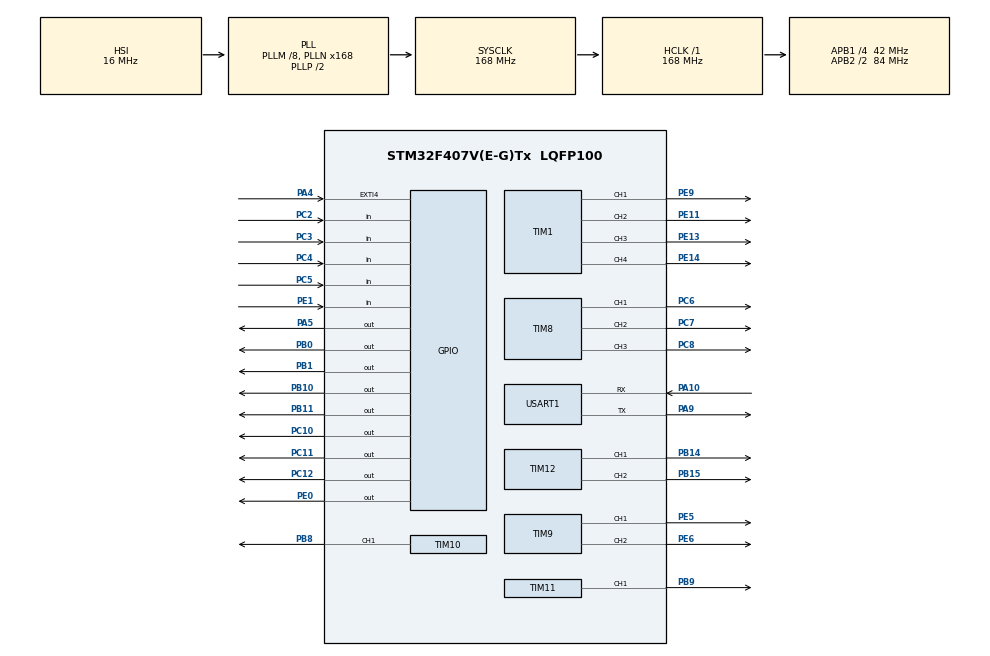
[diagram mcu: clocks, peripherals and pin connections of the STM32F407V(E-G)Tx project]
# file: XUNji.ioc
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Mcu.Family=STM32F4
Mcu.Name=STM32F407V(E-G)Tx
Mcu.Package=LQFP100
NVIC.PriorityGroup=NVIC_PRIORITYGROUP_4
PA10.Mode=Asynchronous
PA10.Signal=USART1_RX
PA13.Mode=Serial_Wire
PA13.Signal=SYS_JTMS-SWDIO
PA14.Mode=Serial_Wire
PA14.Signal=SYS_JTCK-SWCLK
PA4.Signal=GPXTI4
PA5.Signal=GPIO_Output
PA9.Mode=Asynchronous
PA9.Signal=USART1_TX
PB0.Signal=GPIO_Output
PB1.Signal=GPIO_Output
PB10.Signal=GPIO_Output
PB11.Signal=GPIO_Output
PB14.Signal=S_TIM12_CH1
PB15.Signal=S_TIM12_CH2
PB8.Signal=S_TIM10_CH1
PB9.Signal=S_TIM11_CH1
PC10.Signal=GPIO_Output
PC11.Signal=GPIO_Output
PC12.Signal=GPIO_Output
PC2.GPIO_PuPd=GPIO_PULLUP
PC2.Signal=GPIO_Input
PC3.GPIO_PuPd=GPIO_PULLUP
PC3.Signal=GPIO_Input
PC4.GPIO_PuPd=GPIO_PULLUP
PC4.Signal=GPIO_Input
PC5.GPIO_PuPd=GPIO_PULLUP
PC5.Signal=GPIO_Input
PC6.Signal=S_TIM8_CH1
PC7.Signal=S_TIM8_CH2
PC8.Signal=S_TIM8_CH3
PE0.Signal=GPIO_Output
PE1.GPIO_PuPd=GPIO_PULLUP
PE1.Signal=GPIO_Input
PE11.Signal=S_TIM1_CH2
PE13.Signal=S_TIM1_CH3
PE14.Signal=S_TIM1_CH4
PE5.Signal=S_TIM9_CH1
PE6.Signal=S_TIM9_CH2
PE9.Signal=S_TIM1_CH1
PH0-OSC_IN.Mode=HSE-External-Oscillator
PH0-OSC_IN.Signal=RCC_OSC_IN
PH1-OSC_OUT.Mode=HSE-External-Oscillator
PH1-OSC_OUT.Signal=RCC_OSC_OUT
ProjectManager.HeapSize=0x200
ProjectManager.StackSize=0x400
ProjectManager.TargetToolchain=STM32CubeIDE
RCC.48MHZClocksFreq_Value=84000000
RCC.AHBFreq_Value=168000000
RCC.APB1CLKDivider=RCC_HCLK_DIV4
RCC.APB1Freq_Value=42000000
RCC.APB1TimFreq_Value=84000000
RCC.APB2CLKDivider=RCC_HCLK_DIV2
RCC.APB2Freq_Value=84000000
RCC.APB2TimFreq_Value=168000000
RCC.CortexFreq_Value=168000000
RCC.HCLKFreq_Value=168000000
RCC.HSE_VALUE=25000000
RCC.HSI_VALUE=16000000
RCC.LSE_VALUE=32768
RCC.PLLM=8
RCC.PLLN=168
RCC.SYSCLKFreq_VALUE=168000000
RCC.SYSCLKSource=RCC_SYSCLKSOURCE_PLLCLK
RCC.VCOOutputFreq_Value=336000000
SH.S_TIM10_CH1.0=TIM10_CH1,PWM Generation1 CH1
SH.S_TIM11_CH1.0=TIM11_CH1,PWM Generation1 CH1
SH.S_TIM12_CH1.0=TIM12_CH1,PWM Generation1 CH1
SH.S_TIM12_CH2.0=TIM12_CH2,PWM Generation2 CH2
SH.S_TIM1_CH1.0=TIM1_CH1,PWM Generation1 CH1
SH.S_TIM1_CH2.0=TIM1_CH2,Output Compare2 CH2
SH.S_TIM1_CH3.0=TIM1_CH3,Output Compare3 CH3
SH.S_TIM1_CH4.0=TIM1_CH4,Output Compare4 CH4
SH.S_TIM8_CH1.0=TIM8_CH1,PWM Generation1 CH1
SH.S_TIM8_CH2.0=TIM8_CH2,PWM Generation2 CH2
SH.S_TIM8_CH3.0=TIM8_CH3,PWM Generation3 CH3
SH.S_TIM9_CH1.0=TIM9_CH1,PWM Generation1 CH1
SH.S_TIM9_CH2.0=TIM9_CH2,PWM Generation2 CH2
TIM1.Channel-Output\ Compare2\ CH2=TIM_CHANNEL_2
TIM1.Channel-Output\ Compare3\ CH3=TIM_CHANNEL_3
TIM1.Channel-Output\ Compare4\ CH4=TIM_CHANNEL_4
TIM1.Channel-PWM\ Generation1\ CH1=TIM_CHANNEL_1
TIM10.Channel=TIM_CHANNEL_1
TIM10.Period=20000-1
TIM10.Prescaler=168-1
TIM11.Channel=TIM_CHANNEL_1
TIM11.Period=20000-1
TIM11.Prescaler=168-1
TIM12.Channel-PWM\ Generation1\ CH1=TIM_CHANNEL_1
TIM12.Channel-PWM\ Generation2\ CH2=TIM_CHANNEL_2
TIM8.Channel-PWM\ Generation1\ CH1=TIM_CHANNEL_1
TIM8.Channel-PWM\ Generation2\ CH2=TIM_CHANNEL_2
TIM8.Channel-PWM\ Generation3\ CH3=TIM_CHANNEL_3
TIM9.Channel-PWM\ Generation1\ CH1=TIM_CHANNEL_1
TIM9.Channel-PWM\ Generation2\ CH2=TIM_CHANNEL_2
USART1.VirtualMode=VM_ASYNC
VP_TIM10_VS_ClockSourceINT.Mode=Enable_Timer
VP_TIM11_VS_ClockSourceINT.Mode=Enable_Timer
board=custom

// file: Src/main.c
/* USER CODE BEGIN Header */
/**
  ******************************************************************************
  * @file           : main.c
  * @brief          : Main program body
  ******************************************************************************
  * @attention
  *
  * Copyright (c) 2026 STMicroelectronics.
  * All rights reserved.
  *
  * This software is licensed under terms that can be found in the LICENSE file
  * in the root directory of this software component.
  * If no LICENSE file comes with this software, it is provided AS-IS.
  *
  ******************************************************************************
  */
/* USER CODE END Header */

#include "main.h"
#include "tim.h"
#include "usart.h"
#include "gpio.h"
#include <stdio.h>
#include <string.h>

/* USER CODE BEGIN Includes */

/*
 * delay.h：
 *   提供 AX_Delayms()、AX_Delayus()。
 *
 * key.h：
 *   提供 AX_KEY_Scan()，用于按键启动机器人。
 *
 * line.h：
 *   提供 AX_LINE_GetData()，用于读取四路循迹传感器。
 *
 * motor.h：
 *   提供 AX_MOTOR_A/B/C/D_SetSpeed()，用于控制四个底盘电机。
 *
 * led.h / beep.h：
 *   用于状态提示，例如启动时蜂鸣器响一下、LED 点亮。
 *
 * servo.h：
 *   控制水平舵机和释放舵机。
 *
 * extra_motor.h：
 *   控制 TB6612 上的三个卷线电机。
 */

#include "delay.h"
#include "key.h"
#include "line.h"
#include "motor.h"
#include "led.h"
#include "beep.h"
#include "servo.h"
#include "extra_motor.h"

/*
 * 如果要加入 OpenMV 摄像头，
 * 需要在 CubeMX 里启用 USART1，
 * 并生成 usart.h / usart.c。
 */

/* USER CODE END Includes */

/* USER CODE BEGIN PTD */
/*
 * AppState_t：
 *   机器人主状态机枚举。
 *
 * 状态机的作用：
 *   把复杂任务拆成多个步骤，每次只执行当前步骤。
 *
 * 当前流程：
 *   等待按键
 *     -> 循迹
 *     -> 找球
 *     -> 对准球
 *     -> 收球
 *     -> 找篮筐
 *     -> 对准篮筐
 *     -> 卷线送球
 *     -> 释放
 *     -> 结束
 */

typedef enum
{
    APP_WAIT = 0,
    APP_LINE,

    APP_FIND_BALL,
    APP_ALIGN_BALL,
    APP_GRAB_BALL,

    APP_FIND_BASKET,
    APP_ALIGN_BASKET,

    APP_WINCH_PAIR,
    APP_RELEASE,
    APP_FINISH
} AppState_t;

/*
 * OpenMV_Data_t：
 *   保存 OpenMV 发给 STM32 的视觉识别数据。
 *
 * ball_ok：
 *   是否识别到球。
 *
 * ball_x / ball_y：
 *   球在图像中的中心坐标。
 *
 * ball_area：
 *   球的像素面积。
 *   面积越大，一般说明球越近。
 *
 * basket_ok：
 *   是否识别到篮筐。
 *
 * basket_x / basket_y：
 *   篮筐在图像中的中心坐标。
 *
 * basket_area：
 *   篮筐的像素面积。
 *
 * last_update_tick：
 *   最近一次收到有效数据的时间。
 *   用来判断 OpenMV 数据是否过期。
 */
typedef struct
{
    uint8_t ball_ok;
    int16_t ball_x;
    int16_t ball_y;
    int32_t ball_area;

    uint8_t basket_ok;
    int16_t basket_x;
    int16_t basket_y;
    int32_t basket_area;

    uint32_t last_update_tick;
} OpenMV_Data_t;

/* USER CODE END PTD */

/* USER CODE BEGIN PD */

/*
 * APP_SPEED_MAX：
 *   主程序中底盘速度的最大限制。
 */
#define APP_SPEED_MAX       3000

/*
 * 循迹速度参数：
 *   FORWARD_FAST：正常直行速度；
 *   FORWARD_SLOW：偏差较大时降低前进速度。
 */
#define FORWARD_FAST        1200
#define FORWARD_SLOW        800

/*
 * 麦克纳姆轮平移修正速度：
 *   SHIFT_SMALL：小偏差修正；
 *   SHIFT_BIG：大偏差修正。
 */
#define SHIFT_SMALL         350
#define SHIFT_BIG           650

/*
 * 原地转向修正速度：
 *   TURN_SMALL：小角度修正；
 *   TURN_BIG：大角度修正。
 */
#define TURN_SMALL          250
#define TURN_BIG            500

/*
 * 舵机角度：
 *   YAW_CENTER：水平舵机中位；
 *   RELEASE_LOCK：释放机构关闭；
 *   RELEASE_OPEN：释放机构打开。
 */
#define YAW_CENTER          90
#define RELEASE_LOCK        20
#define RELEASE_OPEN        90

/*
 * 卷线电机速度：
 *   WINCH_MAIN_SPEED：
 *      单独卷线电机速度。
 *
 *   WINCH_PAIR_SPEED：
 *      两个配合卷线电机速度。
 */
#define WINCH_MAIN_SPEED    1600
#define WINCH_PAIR_SPEED    1500

/*
 * OpenMV 图像参数：
 *   QVGA 图像宽度 320，所以中心点 x = 160。
 */
#define IMG_CENTER_X        160

/*
 * 视觉死区：
 *   如果目标 x 坐标在 160 ± 18 以内，
 *   就认为已经对准，不再修正。
 */
#define IMG_DEAD_ZONE       18

/*
 * 面积阈值：
 *   用来粗略判断距离。
 *
 *   BALL_CLOSE_AREA：
 *      球面积大于这个值时，认为已经接近球。
 *
 *   BASKET_CLOSE_AREA：
 *      篮筐面积大于这个值时，认为篮筐距离合适。
 */
#define BALL_CLOSE_AREA     2500
#define BASKET_CLOSE_AREA   2200

/*
 * BASKET_CLOSE_AREA：
 *
 * 功能：
 *   篮筐接近判断阈值。
 *
 * 参数含义：
 *   OpenMV 会把识别到的篮筐区域面积发送给 STM32，
 *   也就是 openmv_data.basket_area。
 *
 *   basket_area 越大，通常说明篮筐在画面中占得越大，
 *   也就是机器人距离篮筐越近。
 *
 * 使用位置：
 *   APP_AlignBasket_ByYawServo() 函数中使用。
 *
 * 判断逻辑：
 *   如果 openmv_data.basket_area < BASKET_CLOSE_AREA，
 *      说明篮筐还比较远，底盘继续慢速前进。
 *
 *   如果 openmv_data.basket_area >= BASKET_CLOSE_AREA，
 *      说明机器人已经接近篮筐，可以停止并进入释放流程。
 *
 * 调试方法：
 *   如果机器人离篮筐还很远就停止，说明这个值太小，可以调大。
 *
 *   如果机器人已经撞到篮筐还不停，说明这个值太大，可以调小。
 *
 * 注意：
 *   2200 不是固定值，需要根据 OpenMV 实际画面、篮筐大小、摄像头安装高度调试。
 */
#define BASKET_CLOSE_AREA   2200

/* USER CODE END PD */

/* USER CODE BEGIN PV */

/*
 * app_state：
 *   当前机器人处于哪个任务步骤。
 */
static AppState_t app_state = APP_WAIT;

/*
 * last_line_dir：
 *   记录上一次循迹偏移方向。
 *
 *   -1：上一次线偏左；
 *    0：不知道或居中；
 *    1：上一次线偏右。
 *
 * 用途：
 *   当四路传感器全白、丢线时，
 *   根据上一次偏移方向慢速找线。
 */
static int8_t last_line_dir = 0;

/*
 * openmv_data：
 *   保存 OpenMV 识别到的球和篮筐信息。
 */
static OpenMV_Data_t openmv_data;

/*
 * openmv_rx_buf：
 *   串口接收缓冲区。
 *
 * OpenMV 每次发送一行数据，例如：
 *   @,1,150,120,2800,1,170,80,3000,#
 */
static char openmv_rx_buf[80];

/*
 * openmv_rx_index：
 *   当前接收到缓冲区的第几个字符。
 */
static uint8_t openmv_rx_index = 0;

/*
 * yaw_angle：
 *   当前水平舵机角度。
 *
 * 用途：
 *   对准篮筐时，每次小幅度增加或减小角度。
 */
static uint8_t yaw_angle = YAW_CENTER;

/* USER CODE END PV */

void SystemClock_Config(void);

/* USER CODE BEGIN PFP */

static void APP_Init(void);
static void APP_Task(void);

static int16_t APP_LimitSpeed(int16_t speed);

static void APP_Chassis_Stop(void);
static void APP_Chassis_Mecanum_Run(int16_t vx, int16_t vy, int16_t wz);

static uint8_t APP_Line_Follow_NoPID(void);

static void APP_OpenMV_ParseLine(char *buf);
static void APP_OpenMV_Poll(void);
static uint8_t APP_OpenMV_DataFresh(void);

static uint8_t APP_AlignBall_ByChassis(void);
static uint8_t APP_AlignBasket_ByYawServo(void);

static void APP_DelayWithOpenMV(uint32_t ms);

/* USER CODE END PFP */

/* USER CODE BEGIN 0 */

/*
 * 函数名：APP_LimitSpeed
 *
 * 功能：
 *   限制底盘速度，防止速度值超过最大允许范围。
 *
 * 参数：
 *   speed：
 *      需要限制的速度值。
 *
 * 返回值：
 *   限幅后的速度。
 */
static int16_t APP_LimitSpeed(int16_t speed)
{
    if (speed > APP_SPEED_MAX)
        return APP_SPEED_MAX;

    if (speed < -APP_SPEED_MAX)
        return -APP_SPEED_MAX;

    return speed;
}

/*
 * 函数名：APP_Chassis_Mecanum_Run
 *
 * 功能：
 *   根据 vx、vy、wz 计算四个麦克纳姆轮的速度。
 *
 * 参数：
 *   vx：
 *      前后方向速度。
 *      正数：前进；
 *      负数：后退。
 *
 *   vy：
 *      左右平移速度。
 *      正数：右移；
 *      负数：左移。
 *
 *   wz：
 *      原地旋转速度。
 *      正数：顺时针；
 *      负数：逆时针。
 *
 * 对应模块：
 *   四轮麦克纳姆底盘。
 */
static void APP_Chassis_Mecanum_Run(int16_t vx, int16_t vy, int16_t wz)
{
    int16_t fl;
    int16_t fr;
    int16_t bl;
    int16_t br;
    int16_t max_abs = 0;

    /*
     * 麦克纳姆轮速度分解。
     *
     * 默认：
     *   fl：左前轮；
     *   fr：右前轮；
     *   bl：左后轮；
     *   br：右后轮。
     */
    fl = vx - vy - wz;
    fr = vx + vy + wz;
    bl = vx + vy - wz;
    br = vx - vy + wz;

    /*
     * 找出四个轮子中速度绝对值最大的一个，
     * 如果超过 APP_SPEED_MAX，就整体等比例缩小。
     */
    if (fl < 0) { if (-fl > max_abs) max_abs = -fl; }
    else        { if ( fl > max_abs) max_abs =  fl; }

    if (fr < 0) { if (-fr > max_abs) max_abs = -fr; }
    else        { if ( fr > max_abs) max_abs =  fr; }

    if (bl < 0) { if (-bl > max_abs) max_abs = -bl; }
    else        { if ( bl > max_abs) max_abs =  bl; }

    if (br < 0) { if (-br > max_abs) max_abs = -br; }
    else        { if ( br > max_abs) max_abs =  br; }

    if (max_abs > APP_SPEED_MAX)
    {
        fl = fl * APP_SPEED_MAX / max_abs;
        fr = fr * APP_SPEED_MAX / max_abs;
        bl = bl * APP_SPEED_MAX / max_abs;
        br = br * APP_SPEED_MAX / max_abs;
    }

    /*
     * 把计算出的速度发送给四个底盘电机。
     *
     * 如果实车某个轮子方向反了，
     * 不要改上面的麦轮公式，
     * 只改下面对应电机前面的正负号。
     */
    AX_MOTOR_A_SetSpeed(APP_LimitSpeed(fl));
    AX_MOTOR_B_SetSpeed(APP_LimitSpeed(fr));
    AX_MOTOR_C_SetSpeed(APP_LimitSpeed(bl));
    AX_MOTOR_D_SetSpeed(APP_LimitSpeed(br));
}

/*
 * 函数名：APP_Chassis_Stop
 *
 * 功能：
 *   停止底盘四个电机。
 *
 * 参数：
 *   无。
 *
 * 对应模块：
 *   麦克纳姆轮底盘。
 */
static void APP_Chassis_Stop(void)
{
    AX_MOTOR_A_SetSpeed(0);
    AX_MOTOR_B_SetSpeed(0);
    AX_MOTOR_C_SetSpeed(0);
    AX_MOTOR_D_SetSpeed(0);
}

/*
 * 函数名：APP_Line_Follow_NoPID
 *
 * 功能：
 *   不使用 PID，根据四路循迹状态表进行固定速度修正。
 *
 * 返回值：
 *   0：
 *      继续循迹。
 *
 *   1：
 *      检测到全黑，认为到达路口、终点或任务区域。
 */
static uint8_t APP_Line_Follow_NoPID(void)
{
    uint8_t line;

    line = AX_LINE_GetData();

    switch (line)
    {
        case 0x06:
            /*
             * L2 + L3 检测到黑线。
             * 车身基本居中，直行。
             */
            APP_Chassis_Mecanum_Run(FORWARD_FAST, 0, 0);
            last_line_dir = 0;
            break;

        case 0x02:
            /*
             * 只有 L2 检测到黑线。
             * 黑线稍微偏左，车向左小幅修正。
             */
            APP_Chassis_Mecanum_Run(FORWARD_FAST, -SHIFT_SMALL, -TURN_SMALL);
            last_line_dir = -1;
            break;

        case 0x01:
        case 0x03:
            /*
             * L1 或 L1+L2 检测到黑线。
             * 黑线偏左较多，车慢速左移并左转修正。
             */
            APP_Chassis_Mecanum_Run(FORWARD_SLOW, -SHIFT_BIG, -TURN_BIG);
            last_line_dir = -1;
            break;

        case 0x04:
            /*
             * 只有 L3 检测到黑线。
             * 黑线稍微偏右，车向右小幅修正。
             */
            APP_Chassis_Mecanum_Run(FORWARD_FAST, SHIFT_SMALL, TURN_SMALL);
            last_line_dir = 1;
            break;

        case 0x08:
        case 0x0C:
            /*
             * L4 或 L3+L4 检测到黑线。
             * 黑线偏右较多，车慢速右移并右转修正。
             */
            APP_Chassis_Mecanum_Run(FORWARD_SLOW, SHIFT_BIG, TURN_BIG);
            last_line_dir = 1;
            break;

        case 0x0F:
            /*
             * 四路全黑。
             * 认为到达路口或任务点。
             */
            APP_Chassis_Stop();
            return 1;

        case 0x00:
            /*
             * 四路全白。
             * 认为丢线。
             * 根据上一次偏移方向寻找黑线。
             */
            if (last_line_dir < 0)
            {
                APP_Chassis_Mecanum_Run(500, -SHIFT_BIG, -TURN_BIG);
            }
            else if (last_line_dir > 0)
            {
                APP_Chassis_Mecanum_Run(500, SHIFT_BIG, TURN_BIG);
            }
            else
            {
                APP_Chassis_Mecanum_Run(500, 0, 0);
            }
            break;

        default:
            /*
             * 其他复杂状态，例如 0x05、0x0A。
             * 为避免车剧烈乱动，先慢速直行。
             */
            APP_Chassis_Mecanum_Run(FORWARD_SLOW, 0, 0);
            break;
    }

    return 0;
}

/*
 * 函数名：APP_OpenMV_ParseLine
 *
 * 功能：
 *   解析 OpenMV 通过串口发来的一行数据。
 *
 * OpenMV 数据格式：
 *   @,ball_ok,ball_x,ball_y,ball_area,basket_ok,basket_x,basket_y,basket_area,#
 *
 * 示例：
 *   @,1,150,120,2800,1,170,80,3000,#
 *
 * 参数：
 *   buf：
 *      串口接收到的一整行字符串。
 */
static void APP_OpenMV_ParseLine(char *buf)
{
    int ball_ok;
    int ball_x;
    int ball_y;
    int ball_area;

    int basket_ok;
    int basket_x;
    int basket_y;
    int basket_area;

    int ret;

    ret = sscanf(buf,
                 "@,%d,%d,%d,%d,%d,%d,%d,%d,#",
                 &ball_ok,
                 &ball_x,
                 &ball_y,
                 &ball_area,
                 &basket_ok,
                 &basket_x,
                 &basket_y,
                 &basket_area);

    if (ret == 8)
    {
        openmv_data.ball_ok = ball_ok;
        openmv_data.ball_x = ball_x;
        openmv_data.ball_y = ball_y;
        openmv_data.ball_area = ball_area;

        openmv_data.basket_ok = basket_ok;
        openmv_data.basket_x = basket_x;
        openmv_data.basket_y = basket_y;
        openmv_data.basket_area = basket_area;

        openmv_data.last_update_tick = HAL_GetTick();
    }
}

/*
 * 函数名：APP_OpenMV_Poll
 *
 * 功能：
 *   轮询读取 USART1 中 OpenMV 发来的数据。
 *
 * 参数：
 *   无。
 *
 * 返回值：
 *   无。
 *
 * 注意：
 *   这个函数是非阻塞的。
 *   HAL_UART_Receive timeout 设置为 0，
 *   没有数据时会立即返回，不会卡住主循环。
 */
static void APP_OpenMV_Poll(void)
{
    uint8_t ch;

    while (HAL_UART_Receive(&huart1, &ch, 1, 0) == HAL_OK)
    {
        if (ch == '\n')
        {
            openmv_rx_buf[openmv_rx_index] = '\0';
            APP_OpenMV_ParseLine(openmv_rx_buf);
            openmv_rx_index = 0;
        }
        else
        {
            if (openmv_rx_index < sizeof(openmv_rx_buf) - 1)
            {
                openmv_rx_buf[openmv_rx_index++] = ch;
            }
            else
            {
                openmv_rx_index = 0;
            }
        }
    }
}

/*
 * 函数名：APP_OpenMV_DataFresh
 *
 * 功能：
 *   判断 OpenMV 数据是否新鲜。
 *
 * 返回值：
 *   1：
 *      最近 300ms 内收到过有效 OpenMV 数据。
 *
 *   0：
 *      数据超时，不可信。
 */
static uint8_t APP_OpenMV_DataFresh(void)
{
    if (openmv_data.last_update_tick == 0)
    {
        return 0;
    }

    if (HAL_GetTick() - openmv_data.last_update_tick < 300)
    {
        return 1;
    }

    return 0;
}

/*
 * 函数名：APP_AlignBall_ByChassis
 *
 * 功能：
 *   根据 OpenMV 识别到的球坐标，用底盘对准并靠近球。
 *
 * 返回值：
 *   0：
 *      还没有完成对准或靠近。
 *
 *   1：
 *      已经接近球，可以进入收球步骤。
 */
static uint8_t APP_AlignBall_ByChassis(void)
{
    if (!APP_OpenMV_DataFresh())
    {
        APP_Chassis_Stop();
        return 0;
    }

    if (!openmv_data.ball_ok)
    {
        /*
         * 没看到球，原地慢速搜索。
         */
        APP_Chassis_Mecanum_Run(0, 0, 350);
        return 0;
    }

    if (openmv_data.ball_x < IMG_CENTER_X - IMG_DEAD_ZONE)
    {
        /*
         * 球在画面左边，车向左平移。
         */
        APP_Chassis_Mecanum_Run(0, -450, 0);
        return 0;
    }
    else if (openmv_data.ball_x > IMG_CENTER_X + IMG_DEAD_ZONE)
    {
        /*
         * 球在画面右边，车向右平移。
         */
        APP_Chassis_Mecanum_Run(0, 450, 0);
        return 0;
    }
    else
    {
        /*
         * 左右已经对准。
         * 如果球面积还不够大，说明距离还远，继续慢速前进。
         */
        if (openmv_data.ball_area < BALL_CLOSE_AREA)
        {
            APP_Chassis_Mecanum_Run(500, 0, 0);
            return 0;
        }
        else
        {
            APP_Chassis_Stop();
            return 1;
        }
    }
}

/*
 * 函数名：
 *   APP_AlignBasket_ByYawServo
 *
 * 功能：
 *   使用 OpenMV 识别到的篮筐位置，控制水平舵机对准篮筐。
 *
 *   当篮筐位于画面左侧时，水平舵机向左微调；
 *   当篮筐位于画面右侧时，水平舵机向右微调；
 *   当篮筐位于画面中心附近时，认为方向已经对准。
 *
 *   方向对准后，再根据 basket_area 判断机器人是否足够接近篮筐。
 *   如果还不够近，底盘慢速前进；
 *   如果已经足够近，底盘停止，并返回 1，表示对准篮筐任务完成。
 *
 * 对应模块：
 *   1. OpenMV 摄像头：
 *      提供篮筐识别结果，包括 basket_ok、basket_x、basket_area。
 *
 *   2. 水平舵机：
 *      通过 YawServo_SetAngle(yaw_angle) 调整摄像头或机构朝向。
 *
 *   3. 麦克纳姆轮底盘：
 *      当篮筐已经居中但距离还不够近时，底盘慢速前进。
 *
 * 使用的主要变量：
 *   openmv_data.basket_ok：
 *      是否识别到篮筐。
 *      1 表示识别到；
 *      0 表示没有识别到。
 *
 *   openmv_data.basket_x：
 *      篮筐中心点在图像中的 x 坐标。
 *      QVGA 图像宽度为 320，所以中心点大约是 160。
 *
 *   openmv_data.basket_area：
 *      篮筐在图像中的面积。
 *      面积越大，通常说明篮筐越近。
 *
 *   yaw_angle：
 *      当前水平舵机角度。
 *      每次根据篮筐偏差增加或减小 2 度。
 *
 *   IMG_CENTER_X：
 *      图像中心 x 坐标，这里是 160。
 *
 *   IMG_DEAD_ZONE：
 *      视觉死区。
 *      如果篮筐 x 坐标在 160 ± IMG_DEAD_ZONE 范围内，
 *      认为篮筐已经居中，不再继续左右调整。
 *
 *   BASKET_CLOSE_AREA：
 *      篮筐接近阈值。
 *      basket_area 达到这个值后，认为机器人已经接近篮筐。
 *
 * 返回值：
 *   0：
 *      还没有完成篮筐对准或还没有接近篮筐。
 *
 *   1：
 *      篮筐已经对准，并且距离已经合适，可以进入释放步骤。
 *
 * 注意事项：
 *   1. 如果舵机调整方向反了，
 *      把 yaw_angle += 2 和 yaw_angle -= 2 的位置对调。
 *
 *   2. 如果底盘靠近方向反了，
 *      把 APP_Chassis_Mecanum_Run(400, 0, 0) 改成
 *      APP_Chassis_Mecanum_Run(-400, 0, 0)。
 *
 *   3. 如果不需要底盘靠近篮筐，
 *      可以删除 basket_area 判断部分，居中后直接 return 1。
 */
static uint8_t APP_AlignBasket_ByYawServo(void)
{
    /*
     * 第一步：判断 OpenMV 数据是否新鲜。
     *
     * 如果长时间没有收到 OpenMV 的有效数据，
     * 说明当前视觉数据不可靠，不能继续根据旧数据动作。
     */
    if (!APP_OpenMV_DataFresh())
    {
        /*
         * 视觉数据失效时，先让底盘停止，防止误动作。
         */
        APP_Chassis_Stop();

        /*
         * 返回 0，表示篮筐对准任务还没有完成。
         */
        return 0;
    }

    /*
     * 第二步：判断 OpenMV 是否识别到篮筐。
     */
    if (!openmv_data.basket_ok)
    {
        /*
         * 没有识别到篮筐时，底盘先停止。
         * 这里不让车乱走，只让水平舵机进行搜索。
         */
        APP_Chassis_Stop();

        /*
         * 舵机搜索逻辑：
         *   yaw_angle 从当前角度逐渐增加；
         *   如果增加到 140 度还没有找到篮筐，
         *   就跳回 50 度重新扫描。
         *
         * 这样可以让摄像头或机构在一个水平范围内反复搜索篮筐。
         */
        if (yaw_angle < 140)
        {
            yaw_angle += 2;
        }
        else
        {
            yaw_angle = 50;
        }

        /*
         * 输出新的舵机角度。
         */
        YawServo_SetAngle(yaw_angle);

        /*
         * 给舵机一点转动时间。
         *
         * 如果你已经写了 APP_DelayWithOpenMV()，
         * 建议使用 APP_DelayWithOpenMV(30)，
         * 这样延时期间仍然能接收 OpenMV 数据。
         */
        APP_DelayWithOpenMV(30);

        return 0;
    }

    /*
     * 第三步：篮筐已经识别到，开始根据篮筐 x 坐标调整水平舵机。
     *
     * 如果 basket_x 小于图像中心减去死区，
     * 说明篮筐在画面左边。
     */
    if (openmv_data.basket_x < IMG_CENTER_X - IMG_DEAD_ZONE)
    {
        /*
         * 篮筐在画面左边：
         *   让水平舵机向左微调。
         *
         * 这里默认 yaw_angle 增大表示向左。
         * 如果实车方向反了，就把这里改成 yaw_angle -= 2。
         */
        if (yaw_angle < 170)
        {
            yaw_angle += 2;
        }

        YawServo_SetAngle(yaw_angle);

        /*
         * 舵机小步调整后，短暂等待。
         */
        APP_DelayWithOpenMV(30);

        /*
         * 还没有完成对准，返回 0。
         */
        return 0;
    }

    /*
     * 如果 basket_x 大于图像中心加死区，
     * 说明篮筐在画面右边。
     */
    else if (openmv_data.basket_x > IMG_CENTER_X + IMG_DEAD_ZONE)
    {
        /*
         * 篮筐在画面右边：
         *   让水平舵机向右微调。
         *
         * 这里默认 yaw_angle 减小表示向右。
         * 如果实车方向反了，就把这里改成 yaw_angle += 2。
         */
        if (yaw_angle > 10)
        {
            yaw_angle -= 2;
        }

        YawServo_SetAngle(yaw_angle);

        APP_DelayWithOpenMV(30);

        return 0;
    }

    /*
     * 第四步：
     * 篮筐已经在画面中心附近，说明水平角度基本对准。
     */
    else
    {
        /*
         * 判断篮筐面积是否达到接近阈值。
         *
         * 如果 basket_area 小于 BASKET_CLOSE_AREA，
         * 说明篮筐在画面中还比较小，也就是机器人还不够近。
         */
        if (openmv_data.basket_area < BASKET_CLOSE_AREA)
        {
            /*
             * 底盘慢速前进，靠近篮筐。
             *
             * 参数说明：
             *   vx = 400：慢速前进；
             *   vy = 0：不左右平移；
             *   wz = 0：不旋转。
             */
            APP_Chassis_Mecanum_Run(400, 0, 0);

            /*
             * 还没到合适距离，返回 0。
             */
            return 0;
        }
        else
        {
            /*
             * 篮筐已经居中，并且面积足够大，
             * 说明机器人已经接近篮筐，可以停止。
             */
            APP_Chassis_Stop();

            /*
             * 返回 1，表示篮筐对准和靠近任务完成。
             * 状态机可以进入 APP_WINCH_PAIR 或 APP_RELEASE。
             */
            return 1;
        }
    }
}

/*
 * 函数名：APP_Init
 *
 * 功能：
 *   初始化机器人所有用户模块。
 *
 * 包含模块：
 *   延时、按键、循迹、电机、LED、蜂鸣器、舵机、卷线电机。
 */
static void APP_Init(void)
{
    AX_DELAY_Init();

    AX_KEY_Init();
    AX_LINE_Init();
    AX_MOTOR_Init();

    AX_LED_Init();
    AX_BEEP_Init();

    Servo_Init();
    ExtraMotor_Init();

    APP_Chassis_Stop();

    YawServo_SetAngle(YAW_CENTER);
    ReleaseServo_SetAngle(RELEASE_LOCK);

    Winch_Main_SetSpeed(0);
    Winch_Pair_SetSpeed(0);

    AX_LED_Green_On();

    app_state = APP_WAIT;
}

/*
 * 函数名：APP_Task
 *
 * 功能：
 *   机器人主状态机。
 *
 * 调用位置：
 *   main.c 的 while(1) 主循环中反复调用。
 */
static void APP_Task(void)
{
    /*
     * 每次循环先读取 OpenMV 数据。
     */
    APP_OpenMV_Poll();

    switch (app_state)
    {
        case APP_WAIT:
        {
            APP_Chassis_Stop();

            /*
             * 等待按键启动。
             */
            if (AX_KEY_Scan())
            {
                AX_Delayms(20);

                if (AX_KEY_Scan())
                {
                    AX_BEEP_On();
                    AX_Delayms(100);
                    AX_BEEP_Off();

                    AX_LED_Red_On();

                    app_state = APP_LINE;
                }

                while (AX_KEY_Scan());
            }

            break;
        }

        case APP_LINE:
        {
            /*
             * 循迹行驶。
             * 检测到全黑后进入找球状态。
             */
            if (APP_Line_Follow_NoPID())
            {
                APP_Chassis_Stop();
                AX_Delayms(300);

                app_state = APP_FIND_BALL;
            }

            break;
        }

        case APP_FIND_BALL:
        {
            /*
             * 找球。
             */
            if (APP_OpenMV_DataFresh() && openmv_data.ball_ok)
            {
                app_state = APP_ALIGN_BALL;
            }
            else
            {
                APP_Chassis_Mecanum_Run(0, 0, 300);
            }

            break;
        }

        case APP_ALIGN_BALL:
        {
            /*
             * 对准并靠近球。
             */
            if (APP_AlignBall_ByChassis())
            {
                APP_Chassis_Stop();
                AX_Delayms(200);

                app_state = APP_GRAB_BALL;
            }

            break;
        }

        case APP_GRAB_BALL:
        {
            /*
             * 单独卷线电机收球。
             */
            Winch_Main_SetSpeed(WINCH_MAIN_SPEED);
            APP_DelayWithOpenMV(1500);
            Winch_Main_SetSpeed(0);

            APP_DelayWithOpenMV(300);

            app_state = APP_FIND_BASKET;
            break;
        }

        case APP_FIND_BASKET:
        {
            /*
             * 找对方篮筐。
             */
            if (APP_OpenMV_DataFresh() && openmv_data.basket_ok)
            {
                app_state = APP_ALIGN_BASKET;
            }
            else
            {
                if (yaw_angle < 140)
                {
                    yaw_angle += 2;
                }
                else
                {
                    yaw_angle = 50;
                }

                YawServo_SetAngle(yaw_angle);
                AX_Delayms(30);
            }

            break;
        }

        case APP_ALIGN_BASKET:
        {
            /*
             * 水平舵机对准篮筐。
             */
            if (APP_AlignBasket_ByYawServo())
            {
                AX_Delayms(300);
                app_state = APP_WINCH_PAIR;
            }

            break;
        }

        case APP_WINCH_PAIR:
        {
            /*
             * 两个配合卷线电机运行。
             * 一个正转，一个反转。
             */
            Winch_Pair_SetSpeed(WINCH_PAIR_SPEED);
            APP_DelayWithOpenMV(1200);
            Winch_Pair_SetSpeed(0);

            APP_DelayWithOpenMV(300);

            app_state = APP_RELEASE;
            break;
        }

        case APP_RELEASE:
        {
            /*
             * 打开释放舵机，把球放入篮筐。
             */
            ReleaseServo_SetAngle(RELEASE_OPEN);
            APP_DelayWithOpenMV(800);

            ReleaseServo_SetAngle(RELEASE_LOCK);
            APP_DelayWithOpenMV(300);

            app_state = APP_FINISH;
            break;
        }

        case APP_FINISH:
        {
            /*
             * 结束状态。
             * 所有执行机构停止。
             */
            APP_Chassis_Stop();

            Winch_Main_SetSpeed(0);
            Winch_Pair_SetSpeed(0);

            AX_LED_Red_Off();
            AX_LED_Green_On();

            break;
        }

        default:
        {
            app_state = APP_FINISH;
            break;
        }
    }
}

static void APP_DelayWithOpenMV(uint32_t ms)
{
    uint32_t start = HAL_GetTick();

    while (HAL_GetTick() - start < ms)
    {
        APP_OpenMV_Poll();
        AX_Delayms(1);
    }
}

/* USER CODE END 0 */

int main(void)
{

  /* MCU Configuration--------------------------------------------------------*/

  /* Reset of all peripherals, Initializes the Flash interface and the Systick. */
  HAL_Init();

  /* Configure the system clock */
  SystemClock_Config();

  /* Initialize all configured peripherals */
  MX_GPIO_Init();
  MX_TIM1_Init();
  MX_TIM8_Init();
  MX_TIM9_Init();
  MX_TIM10_Init();
  MX_TIM11_Init();
  MX_TIM12_Init();
  MX_USART1_UART_Init();

  /* USER CODE BEGIN 2 */
  APP_Init();
  /* USER CODE END 2 */

  /* Infinite loop */

  while (1)
  {

    /* USER CODE BEGIN 3 */
	  APP_Task();
  }
  /* USER CODE END 3 */
}

void SystemClock_Config(void)
{
  RCC_OscInitTypeDef RCC_OscInitStruct = {0};
  RCC_ClkInitTypeDef RCC_ClkInitStruct = {0};

  /** Configure the main internal regulator output voltage
  */
  __HAL_RCC_PWR_CLK_ENABLE();
  __HAL_PWR_VOLTAGESCALING_CONFIG(PWR_REGULATOR_VOLTAGE_SCALE1);

  /** Initializes the RCC Oscillators according to the specified parameters
  * in the RCC_OscInitTypeDef structure.
  */
  RCC_OscInitStruct.OscillatorType = RCC_OSCILLATORTYPE_HSI;
  RCC_OscInitStruct.HSIState = RCC_HSI_ON;
  RCC_OscInitStruct.HSICalibrationValue = RCC_HSICALIBRATION_DEFAULT;
  RCC_OscInitStruct.PLL.PLLState = RCC_PLL_ON;
  RCC_OscInitStruct.PLL.PLLSource = RCC_PLLSOURCE_HSI;
  RCC_OscInitStruct.PLL.PLLM = 8;
  RCC_OscInitStruct.PLL.PLLN = 168;
  RCC_OscInitStruct.PLL.PLLP = RCC_PLLP_DIV2;
  RCC_OscInitStruct.PLL.PLLQ = 4;
  if (HAL_RCC_OscConfig(&RCC_OscInitStruct) != HAL_OK)
  {
    Error_Handler();
  }

  /** Initializes the CPU, AHB and APB buses clocks
  */
  RCC_ClkInitStruct.ClockType = RCC_CLOCKTYPE_HCLK|RCC_CLOCKTYPE_SYSCLK
                              |RCC_CLOCKTYPE_PCLK1|RCC_CLOCKTYPE_PCLK2;
  RCC_ClkInitStruct.SYSCLKSource = RCC_SYSCLKSOURCE_PLLCLK;
  RCC_ClkInitStruct.AHBCLKDivider = RCC_SYSCLK_DIV1;
  RCC_ClkInitStruct.APB1CLKDivider = RCC_HCLK_DIV4;
  RCC_ClkInitStruct.APB2CLKDivider = RCC_HCLK_DIV2;

  if (HAL_RCC_ClockConfig(&RCC_ClkInitStruct, FLASH_LATENCY_5) != HAL_OK)
  {
    Error_Handler();
  }
}

void Error_Handler(void)
{
  __disable_irq();
  while (1)
  {
  }
}
